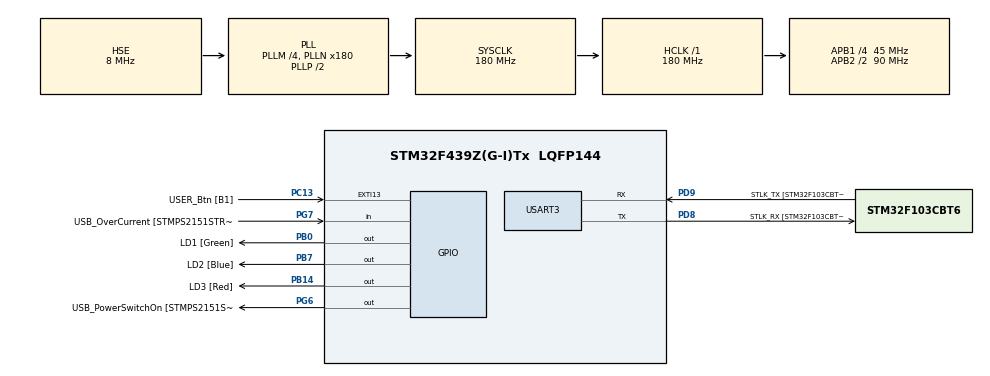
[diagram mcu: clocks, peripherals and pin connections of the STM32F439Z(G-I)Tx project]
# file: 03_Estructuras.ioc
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Mcu.Family=STM32F4
Mcu.Name=STM32F439Z(G-I)Tx
Mcu.Package=LQFP144
NVIC.PriorityGroup=NVIC_PRIORITYGROUP_4
PA13.GPIO_Label=TMS
PA13.Mode=Serial_Wire
PA13.Signal=SYS_JTMS-SWDIO
PA14.GPIO_Label=TCK
PA14.Mode=Serial_Wire
PA14.Signal=SYS_JTCK-SWCLK
PB0.GPIO_Label=LD1 [Green]
PB0.Signal=GPIO_Output
PB14.GPIO_Label=LD3 [Red]
PB14.Signal=GPIO_Output
PB7.GPIO_Label=LD2 [Blue]
PB7.Signal=GPIO_Output
PC13.GPIO_Label=USER_Btn [B1]
PC13.Signal=GPXTI13
PC14/OSC32_IN.Mode=LSE-External-Oscillator
PC14/OSC32_IN.Signal=RCC_OSC32_IN
PC15/OSC32_OUT.Mode=LSE-External-Oscillator
PC15/OSC32_OUT.Signal=RCC_OSC32_OUT
PD8.GPIO_Label=STLK_RX [STM32F103CBT6_PA3]
PD8.Mode=Asynchronous
PD8.Signal=USART3_TX
PD9.GPIO_Label=STLK_TX [STM32F103CBT6_PA2]
PD9.Mode=Asynchronous
PD9.Signal=USART3_RX
PG6.GPIO_Label=USB_PowerSwitchOn [STMPS2151STR_EN]
PG6.Signal=GPIO_Output
PG7.GPIO_Label=USB_OverCurrent [STMPS2151STR_FAULT]
PG7.Signal=GPIO_Input
PH0/OSC_IN.GPIO_Label=MCO [STM32F103CBT6_PA8]
PH0/OSC_IN.Mode=HSE-External-Oscillator
PH0/OSC_IN.Signal=RCC_OSC_IN
PH1/OSC_OUT.Mode=HSE-External-Oscillator
PH1/OSC_OUT.Signal=RCC_OSC_OUT
ProjectManager.HeapSize=0x200
ProjectManager.StackSize=0x400
ProjectManager.TargetToolchain=STM32CubeIDE
RCC.48MHZClocksFreq_Value=51428571.428571425
RCC.AHBFreq_Value=180000000
RCC.APB1CLKDivider=RCC_HCLK_DIV4
RCC.APB1Freq_Value=45000000
RCC.APB1TimFreq_Value=90000000
RCC.APB2CLKDivider=RCC_HCLK_DIV2
RCC.APB2Freq_Value=90000000
RCC.APB2TimFreq_Value=180000000
RCC.CortexFreq_Value=180000000
RCC.HCLKFreq_Value=180000000
RCC.HSE_VALUE=8000000
RCC.HSI_VALUE=16000000
RCC.PLLM=4
RCC.PLLMUL=RCC_PLL_MUL9
RCC.PLLN=180
RCC.PLLQ=7
RCC.PLLSourceVirtual=RCC_PLLSOURCE_HSE
RCC.PRESCALERUSB=RCC_USBCLKSOURCE_PLL_DIV1_5
RCC.SYSCLKFreq_VALUE=180000000
RCC.SYSCLKSource=RCC_SYSCLKSOURCE_PLLCLK
RCC.SYSCLKSourceVirtual=RCC_SYSCLKSOURCE_PLLCLK
RCC.USBFreq_Value=48000000
RCC.VCOOutputFreq_Value=360000000
USART3.VirtualMode=VM_ASYNC
board=NUCLEO-F439ZI

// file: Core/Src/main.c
/* USER CODE BEGIN Header */
/**
  ******************************************************************************
  * @file           : main.c
  * @brief          : Main program body
  ******************************************************************************
  * @attention
  *
  * Copyright (c) 2026 STMicroelectronics.
  * All rights reserved.
  *
  * This software is licensed under terms that can be found in the LICENSE file
  * in the root directory of this software component.
  * If no LICENSE file comes with this software, it is provided AS-IS.
  *
  ******************************************************************************
  */
/* USER CODE END Header */
#include "main.h"

/* USER CODE BEGIN Includes */
#include <stdio.h>
#include <string.h>
/* USER CODE END Includes */

/* USER CODE BEGIN PTD */

/* --- ESTRUCTURAS PARA CONTROL DE HARDWARE --- */

//Estructura para definir los pines y puertos a controlar
typedef struct {
    GPIO_TypeDef* port;  // GPIOA, GPIOB, etc.
    uint16_t pin;       // GPIO_PIN_0, etc.
} GPIO_Config_t;

// Estructura para definir un arreglo de leds
typedef struct {
    GPIO_Config_t* leds; // Puntero a un arreglo de configuraciones
    //uint8_t count;       // Cantidad de LEDs
} Leds_t;

/* --- ESTRUCTURAS PARA LA LECCIÓN --- */

// 1. Estructura DESORDENADA (Mucho Padding)
// El compilador inserta huecos para alinear los datos de 32 bits.
typedef struct {
    uint8_t  id;          // 1 byte  (+ 3 bytes de padding para alinear el uint32)
    uint32_t timestamp;   // 4 bytes
    uint8_t  estado;      // 1 byte  (+ 3 bytes de padding para alinear el float)
    float    lectura;     // 4 bytes
} Estructura_Gorda_t;

// 2. Estructura OPTIMIZADA (Orden de mayor a menor)
// Agrupando tipos iguales o mayores primero, reducimos el desperdicio.
typedef struct {
    uint32_t timestamp;   // 4 bytes
    float    lectura;     // 4 bytes
    uint8_t  id;          // 1 byte
    uint8_t  estado;      // 1 byte (+ 2 bytes de padding al final para cerrar el bloque de 4)
} Estructura_Flaca_t;

/* USER CODE END PTD */

UART_HandleTypeDef huart3;

/* USER CODE BEGIN PV */

/* --- APLICACION DE LAS ESTRUCUTRAS DE CONTROL DE HARDWARE --- */
// 1. Definimos los pines físicos (pueden ser de cualquier puerto) mediante un arreglo de estructuras
GPIO_Config_t configuracion_leds[] = {
    {GPIOB, GPIO_PIN_0},
	{GPIOB, GPIO_PIN_7},
    {GPIOB, GPIO_PIN_14}
};

// 2. Inicializamos la estructura usando la constante calculada
Leds_t barra_leds = {configuracion_leds};

// 3. Usamos sizeof para calcular la cantidad de elementos automáticamente
// Fórmula: Tamaño total del arreglo / Tamaño de un solo elemento
#define LED_COUNT (sizeof(configuracion_leds) / sizeof(configuracion_leds[0]))

/* USER CODE END PV */

void SystemClock_Config(void);
static void MX_GPIO_Init(void);
static void MX_USART3_UART_Init(void);
/* USER CODE BEGIN PFP */

/* Prototipos de funciones */
void Debug_Log(const char *msg);	//Funcion UART

/* USER CODE END PFP */

/* USER CODE BEGIN 0 */

/* Definicion de la función de asistencia por UART*/
void Debug_Log(const char *msg) {
    HAL_UART_Transmit(&huart3, (uint8_t*)msg, strlen(msg), 100);
}

/* USER CODE END 0 */

int main(void)
{

  /* MCU Configuration--------------------------------------------------------*/

  /* Reset of all peripherals, Initializes the Flash interface and the Systick. */
  HAL_Init();

  /* Configure the system clock */
  SystemClock_Config();

  /* Initialize all configured peripherals */
  MX_GPIO_Init();
  MX_USART3_UART_Init();
  /* USER CODE BEGIN 2 */
  char buffer[128];

    Debug_Log("\r\n=============================================\r\n");
    Debug_Log("   NOTAS STM32: OPTIMIZACIÓN DE MEMORIA      \r\n");
    Debug_Log("=============================================\r\n");

    // Cálculo de tamaños
    uint32_t size_gorda = sizeof(Estructura_Gorda_t);
    uint32_t size_flaca = sizeof(Estructura_Flaca_t);
    uint32_t ahorro = size_gorda - size_flaca;

    // Reporte por UART
    sprintf(buffer, "1. Estructura Desordenada: %lu bytes\r\n", size_gorda);
    Debug_Log(buffer);

    sprintf(buffer, "2. Estructura Optimizada  : %lu bytes\r\n", size_flaca);
    Debug_Log(buffer);

    sprintf(buffer, ">>> AHORRO DE RAM: %lu bytes (%.0f%%)\r\n", ahorro, ((float)ahorro/size_gorda)*100);
    Debug_Log(buffer);

    Debug_Log("---------------------------------------------\r\n");
    Debug_Log("Nota: Reordena de mayor a menor tamano.\r\n");
    Debug_Log("=============================================\r\n");
  /* USER CODE END 2 */

  /* Infinite loop */
  while (1)
  {

    /* USER CODE BEGIN 3 */
      for (int i = 0; i < LED_COUNT; i++)
      {
          HAL_GPIO_WritePin(barra_leds.leds[i].port, barra_leds.leds[i].pin, GPIO_PIN_SET);
          HAL_Delay(100);
          HAL_GPIO_WritePin(barra_leds.leds[i].port, barra_leds.leds[i].pin, GPIO_PIN_RESET);
      }
  }
  /* USER CODE END 3 */
}

void SystemClock_Config(void)
{
  RCC_OscInitTypeDef RCC_OscInitStruct = {0};
  RCC_ClkInitTypeDef RCC_ClkInitStruct = {0};

  /** Configure the main internal regulator output voltage
  */
  __HAL_RCC_PWR_CLK_ENABLE();
  __HAL_PWR_VOLTAGESCALING_CONFIG(PWR_REGULATOR_VOLTAGE_SCALE1);

  /** Initializes the RCC Oscillators according to the specified parameters
  * in the RCC_OscInitTypeDef structure.
  */
  RCC_OscInitStruct.OscillatorType = RCC_OSCILLATORTYPE_HSE;
  RCC_OscInitStruct.HSEState = RCC_HSE_ON;
  RCC_OscInitStruct.PLL.PLLState = RCC_PLL_ON;
  RCC_OscInitStruct.PLL.PLLSource = RCC_PLLSOURCE_HSE;
  RCC_OscInitStruct.PLL.PLLM = 4;
  RCC_OscInitStruct.PLL.PLLN = 180;
  RCC_OscInitStruct.PLL.PLLP = RCC_PLLP_DIV2;
  RCC_OscInitStruct.PLL.PLLQ = 7;
  if (HAL_RCC_OscConfig(&RCC_OscInitStruct) != HAL_OK)
  {
    Error_Handler();
  }

  /** Activate the Over-Drive mode
  */
  if (HAL_PWREx_EnableOverDrive() != HAL_OK)
  {
    Error_Handler();
  }

  /** Initializes the CPU, AHB and APB buses clocks
  */
  RCC_ClkInitStruct.ClockType = RCC_CLOCKTYPE_HCLK|RCC_CLOCKTYPE_SYSCLK
                              |RCC_CLOCKTYPE_PCLK1|RCC_CLOCKTYPE_PCLK2;
  RCC_ClkInitStruct.SYSCLKSource = RCC_SYSCLKSOURCE_PLLCLK;
  RCC_ClkInitStruct.AHBCLKDivider = RCC_SYSCLK_DIV1;
  RCC_ClkInitStruct.APB1CLKDivider = RCC_HCLK_DIV4;
  RCC_ClkInitStruct.APB2CLKDivider = RCC_HCLK_DIV2;

  if (HAL_RCC_ClockConfig(&RCC_ClkInitStruct, FLASH_LATENCY_5) != HAL_OK)
  {
    Error_Handler();
  }
}

static void MX_USART3_UART_Init(void)
{

  huart3.Instance = USART3;
  huart3.Init.BaudRate = 115200;
  huart3.Init.WordLength = UART_WORDLENGTH_8B;
  huart3.Init.StopBits = UART_STOPBITS_1;
  huart3.Init.Parity = UART_PARITY_NONE;
  huart3.Init.Mode = UART_MODE_TX_RX;
  huart3.Init.HwFlowCtl = UART_HWCONTROL_NONE;
  huart3.Init.OverSampling = UART_OVERSAMPLING_16;
  if (HAL_UART_Init(&huart3) != HAL_OK)
  {
    Error_Handler();
  }

}

static void MX_GPIO_Init(void)
{
  GPIO_InitTypeDef GPIO_InitStruct = {0};

  /* GPIO Ports Clock Enable */
  __HAL_RCC_GPIOC_CLK_ENABLE();
  __HAL_RCC_GPIOH_CLK_ENABLE();
  __HAL_RCC_GPIOB_CLK_ENABLE();
  __HAL_RCC_GPIOD_CLK_ENABLE();
  __HAL_RCC_GPIOG_CLK_ENABLE();
  __HAL_RCC_GPIOA_CLK_ENABLE();

  /*Configure GPIO pin Output Level */
  HAL_GPIO_WritePin(GPIOB, LD1_Pin|LD3_Pin|LD2_Pin, GPIO_PIN_RESET);

  /*Configure GPIO pin Output Level */
  HAL_GPIO_WritePin(USB_PowerSwitchOn_GPIO_Port, USB_PowerSwitchOn_Pin, GPIO_PIN_RESET);

  /*Configure GPIO pin : USER_Btn_Pin */
  GPIO_InitStruct.Pin = USER_Btn_Pin;
  GPIO_InitStruct.Mode = GPIO_MODE_IT_RISING;
  GPIO_InitStruct.Pull = GPIO_NOPULL;
  HAL_GPIO_Init(USER_Btn_GPIO_Port, &GPIO_InitStruct);

  /*Configure GPIO pins : LD1_Pin LD3_Pin LD2_Pin */
  GPIO_InitStruct.Pin = LD1_Pin|LD3_Pin|LD2_Pin;
  GPIO_InitStruct.Mode = GPIO_MODE_OUTPUT_PP;
  GPIO_InitStruct.Pull = GPIO_NOPULL;
  GPIO_InitStruct.Speed = GPIO_SPEED_FREQ_LOW;
  HAL_GPIO_Init(GPIOB, &GPIO_InitStruct);

  /*Configure GPIO pin : USB_PowerSwitchOn_Pin */
  GPIO_InitStruct.Pin = USB_PowerSwitchOn_Pin;
  GPIO_InitStruct.Mode = GPIO_MODE_OUTPUT_PP;
  GPIO_InitStruct.Pull = GPIO_NOPULL;
  GPIO_InitStruct.Speed = GPIO_SPEED_FREQ_LOW;
  HAL_GPIO_Init(USB_PowerSwitchOn_GPIO_Port, &GPIO_InitStruct);

  /*Configure GPIO pin : USB_OverCurrent_Pin */
  GPIO_InitStruct.Pin = USB_OverCurrent_Pin;
  GPIO_InitStruct.Mode = GPIO_MODE_INPUT;
  GPIO_InitStruct.Pull = GPIO_NOPULL;
  HAL_GPIO_Init(USB_OverCurrent_GPIO_Port, &GPIO_InitStruct);

}

void Error_Handler(void)
{
  __disable_irq();
  while (1)
  {
  }
}
